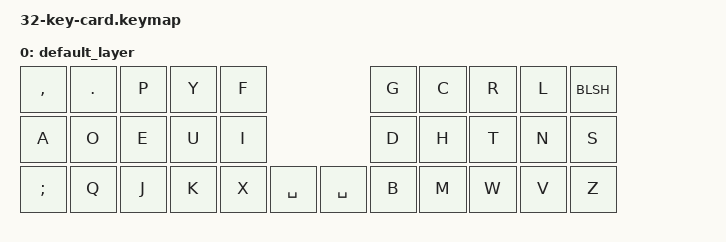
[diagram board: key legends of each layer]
#include <behaviors.dtsi>
#include <dt-bindings/zmk/keys.h>

#define alpha 0
#define ALPHA 1
#define num   2
#define misc  3

/ {
    keymap {
        compatible = "zmk,keymap";

        default_layer {
// ---------------------------------------------------------------------------------------------------------------------------
// |    ,    |    .    |    P    |    Y    |    F    |                     |    G    |    C    |    R    |    L    |    /    |
// |    A    |    O    |    E    |    U    |    I    |                     |    D    |    H    |    T    |    N    |    S    |
// |    :    |    Q    |    J    |    K    |    X    | SPACE |   |  SPACE  |    B    |    M    |    W    |    V    |    Z    |
            bindings = <
    &kp COMMA    &kp DOT    &kp P    &kp Y    &kp F                          &kp G     &kp C     &kp R     &kp L     &kp BLSH 
    &kp A        &kp O      &kp E    &kp U    &kp I                          &kp D     &kp H     &kp T     &kp N     &kp S
    &kp SEMI     &kp Q      &kp J    &kp K    &kp X   &kp SPACE  &kp SPACE   &kp B     &kp M     &kp W     &kp V     &kp Z
            >;
        };
    };
};
